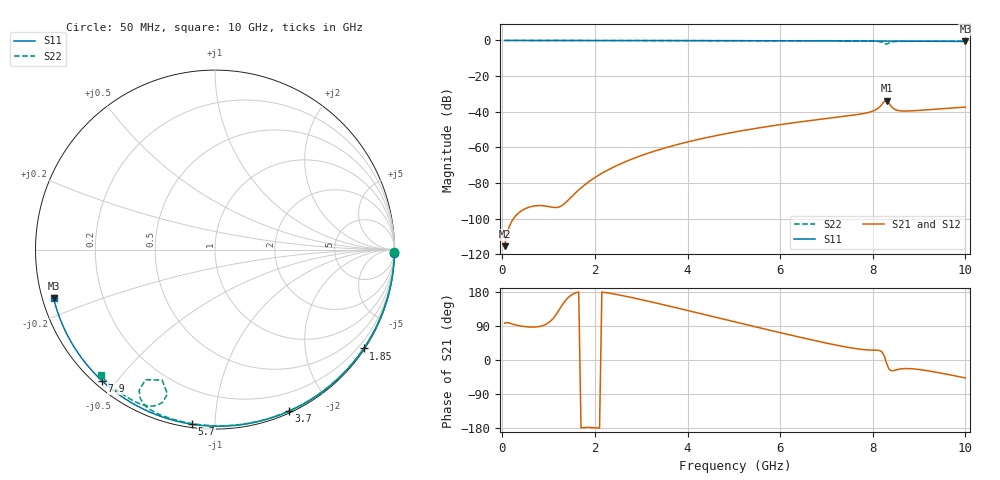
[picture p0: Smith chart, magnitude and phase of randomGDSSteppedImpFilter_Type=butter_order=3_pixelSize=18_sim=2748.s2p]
! freq	dB(S11)	phase(S11)	dB(S12)	phase(S12)
!  dB(S21)	phase(S21)	dB(S22)	phase(S22)
!S-par simulation data
#  GHz  S  DB  R 50
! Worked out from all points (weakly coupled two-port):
!   200 points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, 50 MHz to 10 GHz, reference 50 ohm
!   highest |S21| = -33.74 dB at 8.3 GHz (marker M1); lowest = -115.5 dB at 50 MHz (marker M2)
!   lowest |S11| = -0.5 dB at 10 GHz (marker M3), VSWR 31.82, Z = 1.6 - j7.33 ohm
!   |S11| at or under -10 dB: nowhere
!   |S22| runs from -2.1 to 0.0 dB; largest |S21 - S12| = 0
!   S11 on the Smith chart (normalised r, x): 50 MHz: open; 1.85 GHz: 0.03, -3.31; 3.7 GHz: 0.02, -1.56; 5.7 GHz: 0.02, -0.88; 7.9 GHz: 0.02, -0.46; 10 GHz: 0.03, -0.15
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0.05  -0.00 -0.9  -115.47 97.3  -115.47 97.3  -0.00 -0.8
0.85  -0.02 -15.6  -92.71 89.8  -92.71 89.8  -0.02 -13.0
1.75  -0.04 -31.8  -81.68 -178.4  -81.68 -178.4  -0.03 -26.6
1.85  -0.04 -33.6  -79.66 -177.9  -79.66 -177.9  -0.04 -28.1
2.15  -0.05 -38.9  -74.56 179.3  -74.56 179.3  -0.04 -32.5
2.5  -0.06 -45.0  -69.87 172.2  -69.87 172.2  -0.05 -37.6
2.9  -0.07 -52.0  -65.57 162.0  -65.57 162.0  -0.06 -43.4
3.4  -0.08 -60.4  -61.21 148.1  -61.21 148.1  -0.07 -50.6
3.7  -0.09 -65.5  -58.98 139.5  -58.98 139.5  -0.07 -54.8
5.05  -0.13 -87.3  -51.24 99.8  -51.24 99.8  -0.11 -73.3
5.7  -0.16 -97.4  -48.42 80.8  -48.42 80.8  -0.14 -81.8
6.7  -0.22 -112.7  -44.79 52.5  -44.79 52.5  -0.18 -94.6
7.9  -0.31 -130.6  -40.47 26.4  -40.47 26.4  -0.31 -110.8
8.1  -0.33 -133.6  -38.36 25.8  -38.36 25.8  -0.49 -115.2
8.2  -0.34 -135.1  -35.81 21.0  -35.81 21.0  -1.01 -118.3
8.25  -0.35 -135.9  -34.16 10.2  -34.16 10.2  -1.70 -118.1
8.3  -0.35 -136.6  -33.74 -9.2  -33.74 -9.2  -2.11 -112.0
8.35  -0.35 -137.4  -35.29 -24.0  -35.29 -24.0  -1.45 -108.2
8.45  -0.36 -138.9  -38.26 -28.0  -38.26 -28.0  -0.67 -110.4
8.55  -0.37 -140.4  -39.32 -24.8  -39.32 -24.8  -0.48 -113.0
8.65  -0.38 -142.0  -39.61 -23.0  -39.61 -23.0  -0.41 -114.9
10  -0.55 -163.3  -37.41 -47.4  -37.41 -47.4  -0.46 -132.3
